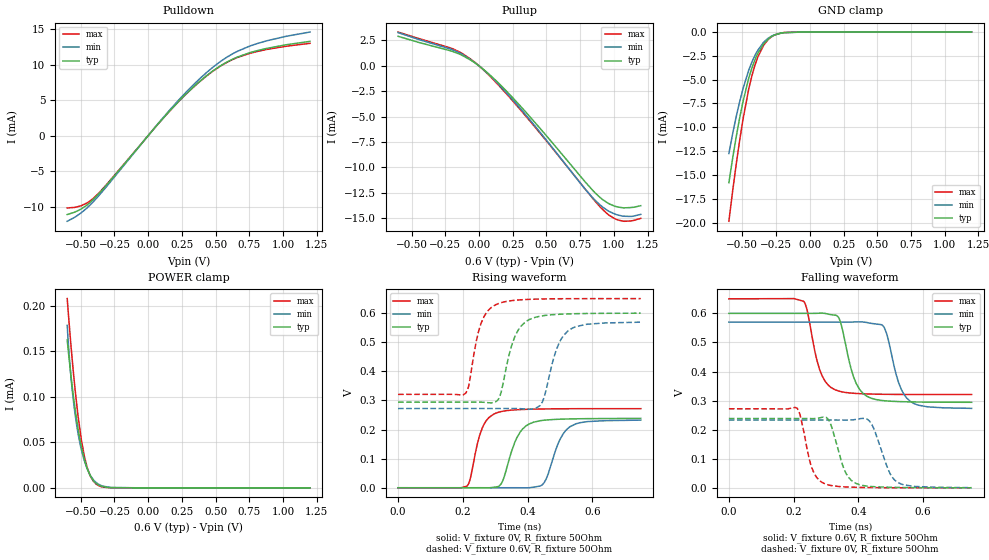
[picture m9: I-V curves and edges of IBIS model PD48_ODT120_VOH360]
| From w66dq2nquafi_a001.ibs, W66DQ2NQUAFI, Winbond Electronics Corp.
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[Model]   PD48_ODT120_VOH360
Model_type   I/O
Polarity   Non-Inverting
Enable   Active-Low
Vinl = 0.11
Vinh = 0.25
Vmeas = 0.18
Vref = 0
Cref = 0pF
Rref = 120
|   typ   min   max
C_comp   1.15pF   1.05pF   1.25pF
[Voltage Range]   0.6   0.57   0.65
[Temperature Range]   25   95   -40
[Pullup Reference]   0.6   0.57   0.65
[Pulldown Reference]   0   0   0
[Power Clamp Reference]   0.6   0.57   0.65
[GND Clamp Reference]   0   0   0
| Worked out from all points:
|   slope of the pulldown table from 0 to 0.09 V, typ, clamps not added: 44.9 ohm
|   slope of the pullup table from 0 to 0.09 V, typ, clamps not added: 89.1 ohm
|   GND clamp passes 1 mA (typ) near -0.33 V on its own axis
|   falling waveform, V_fixture 0.6V, R_fixture 50Ohm: 20-80 % time 43.2ps typ, 43.3ps min, 40.8ps max; typ from 0.6 V to 0.294 V
|   rising waveform, V_fixture 0V, R_fixture 50Ohm: 20-80 % time 46.2ps typ, 47.2ps min, 37.8ps max; typ from 0 V to 0.238 V
|   rising waveform, V_fixture 0.6V, R_fixture 50Ohm: 20-80 % time 46ps typ, 47.1ps min, 40ps max; typ from 0.294 V to 0.6 V
|   falling waveform, V_fixture 0V, R_fixture 50Ohm: 20-80 % time 40.5ps typ, 45.3ps min, 34.9ps max; typ from 0.238 V to 0 V
[Pulldown]
|   Voltage   I(typ)   I(min)   I(max)
-600mV    -11.13mA   -12.08mA   -10.21mA
-495.1mV  -10.34mA   -10.87mA   -9.877mA
-453.1mV  -9.791mA   -10.2mA    -9.497mA
-400.4mV  -8.897mA   -9.203mA   -8.74mA
-309.5mV  -6.994mA   -7.212mA   -6.923mA
163.8mV   3.571mA    3.7mA      3.564mA
350.9mV   7.128mA    7.465mA    7.104mA
510.9mV   9.543mA    10.11mA    9.504mA
625.2mV   10.79mA    11.54mA    10.74mA
758.9mV   11.74mA    12.68mA    11.64mA
1.013V    12.79mA    13.98mA    12.59mA
1.2V      13.31mA    14.63mA    13.04mA
[GND Clamp]
|   Voltage   I(typ)   I(min)   I(max)
-600mV    -15.82mA   -12.76mA   -19.87mA
-570.1mV  -13.08mA   -10.55mA   -16.49mA
-521.3mV  -9.128mA   -7.389mA   -11.5mA
-494.7mV  -7.273mA   -5.925mA   -9.121mA
-452.4mV  -4.835mA   -3.99mA    -5.964mA
-425.4mV  -3.613mA   -3.019mA   -4.395mA
-406.3mV  -2.9mA     -2.45mA    -3.459mA
-384.2mV  -2.225mA   -1.891mA   -2.585mA
-338.7mV  -1.185mA   -1.028mA   -1.322mA
-286.7mV  -488.8uA   -459.8uA   -524uA
-188.5mV  -60.35uA   -68.41uA   -44.43uA
1.2V      0A         0A         0A
[Pullup]
|   Voltage   I(typ)   I(min)   I(max)
-600mV    2.903mA    3.266mA    3.32mA
-188.5mV  1.378mA    1.532mA    1.643mA
-36.45mV  346.8uA    374uA      407.5uA
84.45mV   -941.7uA   -999.6uA   -1.067mA
228.1mV   -2.828mA   -2.999mA   -3.118mA
443.4mV   -6.007mA   -6.381mA   -6.476mA
786mV     -11.4mA    -12.11mA   -12.1mA
898.5mV   -12.96mA   -13.69mA   -13.88mA
969.8mV   -13.61mA   -14.36mA   -14.74mA
1.028V    -13.89mA   -14.67mA   -15.16mA
1.125V    -13.95mA   -14.82mA   -15.27mA
1.2V      -13.76mA   -14.62mA   -15.01mA
[POWER Clamp]
|   Voltage   I(typ)   I(min)   I(max)
-600mV    162.4uA    178.3uA    207.7uA
-590.3mV  148uA      155.6uA    189uA
-580.6mV  134.5uA    136.3uA    171.3uA
-557.7mV  105.2uA    100.3uA    132.3uA
-529.3mV  74.3uA     68.39uA    91.43uA
-495.4mV  45.23uA    42.1uA     52.79uA
-471.9mV  30.57uA    29.32uA    33.95uA
-453.1mV  21.6uA     21.25uA    22.83uA
-429mV    13.27uA    13.82uA    13.08uA
-384.2mV  4.9uA      5.764uA    3.941uA
-277.9mV  198.9nA    404nA      61.51nA
1.2V      0A         0A         0A
[Ramp]
R_load = 50
|   typ   min   max
dV/dt_r 1.4295E-01/4.6135E-11   1.3944E-01/4.7031E-11   1.6308E-01/3.7715E-11
dV/dt_f 1.8350E-01/4.3150E-11   1.7802E-01/4.3319E-11   1.9746E-01/4.0665E-11
[Falling Waveform]
V_fixture = 0.6V
V_fixture_min = 0.57V
V_fixture_max = 0.65V
R_fixture = 50Ohm
C_fixture = 0F
|   Time   V(typ)   V(min)   V(max)
0s        600mV      570mV      650mV
231ps     600mV      570mV      641.8mV
280ps     600.7mV    570mV      408.1mV
334ps     592.1mV    570mV      334.9mV
394ps     357.7mV    570.7mV    324.5mV
471ps     300.7mV    561.2mV    321.8mV
487ps     298.9mV    532mV      321.6mV
525ps     296.7mV    360.3mV    321.3mV
560ps     295.6mV    297.8mV    321.1mV
750ps     294.2mV    273.3mV    320.9mV
[Rising Waveform]
V_fixture = 0V
V_fixture_min = 0V
V_fixture_max = 0V
R_fixture = 50Ohm
C_fixture = 0F
|   Time   V(typ)   V(min)   V(max)
0s        4.822uV    15.86uV    954.9nV
213ps     2.961uV    15.85uV    5.636mV
260ps     -12.79uV   16.19uV    204.6mV
306ps     3.267mV    12.62uV    258.1mV
367ps     171.7mV    31.86uV    268mV
404ps     218.6mV    44.59uV    269.8mV
452ps     232.2mV    18.41mV    270.8mV
499ps     235.5mV    162.8mV    271.4mV
532ps     236.5mV    210.2mV    271.6mV
750ps     238.3mV    232.4mV    271.8mV
[Rising Waveform]
V_fixture = 0.6V
V_fixture_min = 0.57V
V_fixture_max = 0.65V
R_fixture = 50Ohm
C_fixture = 0F
|   Time   V(typ)   V(min)   V(max)
0s        294mV      272.3mV    320.9mV
208ps     294mV      272.3mV    324mV
256ps     294.1mV    272.3mV    563.2mV
306ps     299mV      272.3mV    631.2mV
359ps     513.7mV    272.4mV    644.1mV
403ps     576.6mV    269.8mV    647.3mV
446ps     590.8mV    294.8mV    648.7mV
487ps     595.4mV    467.2mV    649.4mV
524ps     597.3mV    538mV      649.7mV
750ps     599.9mV    569mV      650mV
[Falling Waveform]
|Gnd
V_fixture = 0V
V_fixture_min = 0V
V_fixture_max = 0V
R_fixture = 50Ohm
C_fixture = 0F
|   Time   V(typ)   V(min)   V(max)
0s        238.4mV    233.3mV    271.8mV
210ps     238.4mV    233.3mV    274.3mV
260ps     238.1mV    233.3mV    58.46mV
305ps     238.3mV    233.3mV    10.65mV
356ps     64.17mV    233.1mV    3.413mV
394ps     14.57mV    235.5mV    1.816mV
440ps     4.558mV    221.2mV    886.2uV
492ps     2.067mV    63.43mV    372.9uV
520ps     1.446mV    20.09mV    240uV
750ps     79.21uV    649.8uV    -11.31uV
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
